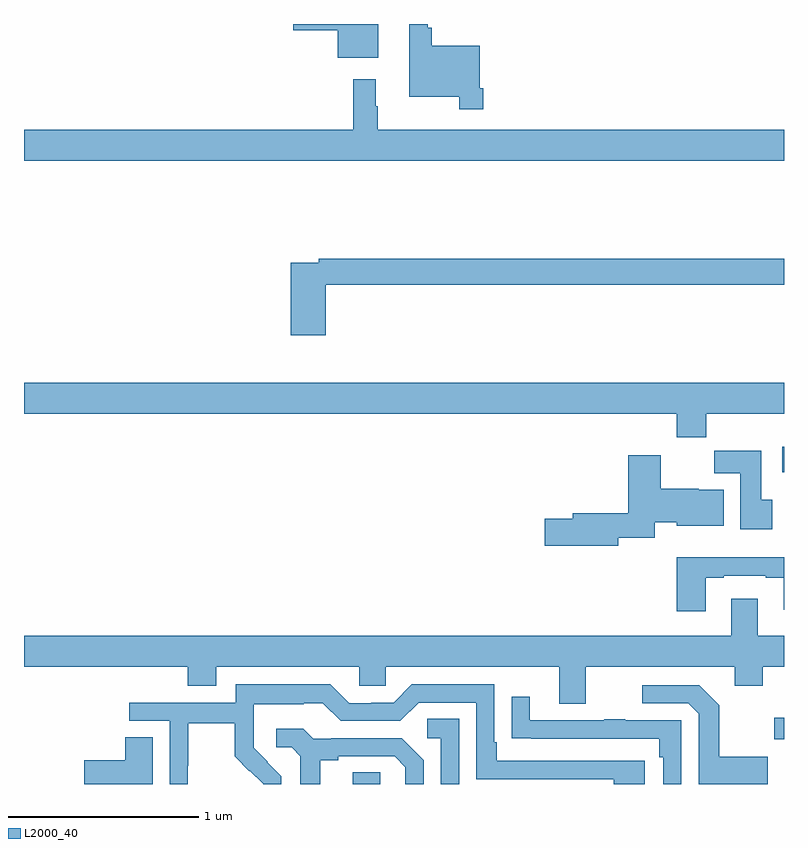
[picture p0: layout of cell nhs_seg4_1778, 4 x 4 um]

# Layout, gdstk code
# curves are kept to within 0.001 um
import gdstk
lib = gdstk.Library(unit=1e-6, precision=1e-09)
def R(c, l, rs):  # rectangles x0, y0, x1, y1
    for r in rs: c.add(gdstk.rectangle(r[:2], r[2:], *l))
def P(c, l, *ps):  # polygons
    for p in ps: c.add(gdstk.Polygon(p, *l))
L2000_40 = (2000, 40)

nhs_seg4_1778 = lib.new_cell('nhs_seg4_1778')
R(nhs_seg4_1778, L2000_40, [(204.731,766.9,204.876,766.961), (206.949,767.135,207,767.248), (206.991,768.542,207,768.676)])
P(nhs_seg4_1778, L2000_40, [(205.418,770.563),(205.398,770.563),(205.398,770.785),(205.145,770.785),(205.145,770.881),(205.125,770.881),(205.125,770.9),(205.028,770.9),(205.028,770.516),(205.29,770.516),(205.29,770.451),(205.418,770.451)],
  [(204.865,770.9),(204.416,770.9),(204.416,770.867),(204.65,770.867),(204.65,770.723),(204.865,770.723)],
  [(207,770.344),(204.862,770.344),(204.862,770.468),(204.85,770.468),(204.85,770.608),(204.733,770.608),(204.733,770.344),(203,770.344),(203,770.18),(207,770.18)],
  [(204.587,769.528),(207,769.528),(207,769.664),(204.55,769.664),(204.55,769.644),(204.404,769.644),(204.404,769.263),(204.587,769.263)],
  [(206.591,768.848),(207,768.848),(207,769.012),(203,769.012),(203,768.848),(206.435,768.848),(206.435,768.724),(206.591,768.724)],
  [(206.938,768.396),(206.881,768.396),(206.881,768.655),(206.632,768.655),(206.632,768.536),(206.771,768.536),(206.771,768.24),(206.938,768.24)],
  [(206.128,768.196),(206.32,768.196),(206.32,768.278),(206.436,768.278),(206.436,768.26),(206.683,768.26),(206.683,768.448),(206.55,768.448),(206.55,768.454),(206.35,768.454),(206.35,768.631),(206.18,768.631),(206.18,768.326),(205.889,768.326),(205.889,768.296),(205.74,768.296),(205.74,768.154),(206.128,768.154)],
  [(206.587,767.985),(206.683,767.985),(206.683,767.997),(206.903,767.997),(206.903,767.985),(206.999,767.985),(206.999,767.816),(207,767.816),(207,768.094),(206.435,768.094),(206.435,767.808),(206.587,767.808)],
  [(203,767.516),(203.861,767.516),(203.861,767.417),(204.013,767.417),(204.013,767.516),(204.765,767.516),(204.765,767.418),(204.903,767.418),(204.903,767.516),(205.817,767.516),(205.817,767.322),(205.957,767.322),(205.957,767.516),(206.741,767.516),(206.741,767.417),(206.889,767.417),(206.889,767.516),(207,767.516),(207,767.68),(206.863,767.68),(206.863,767.875),(206.723,767.875),(206.723,767.68),(203,767.68)],
  [(203.862,766.996),(203.865,766.996),(203.865,767.22),(204.109,767.22),(204.109,767.045),(204.186,766.968),(204.189,766.971),(204.26,766.9),(204.354,766.9),(204.354,766.942),(204.208,767.09),(204.208,767.187),(204.21,767.187),(204.21,767.321),(204.473,767.321),(204.473,767.325),(204.573,767.325),(204.666,767.232),(204.981,767.232),(205.077,767.328),(205.38,767.328),(205.38,766.926),(206.105,766.926),(206.105,766.9),(206.266,766.9),(206.266,767.022),(205.489,767.022),(205.489,767.119),(205.476,767.119),(205.476,767.424),(205.041,767.424),(204.945,767.328),(204.827,767.328),(204.827,767.325),(204.711,767.325),(204.611,767.425),(204.114,767.425),(204.114,767.328),(203.553,767.328),(203.553,767.232),(203.766,767.232),(203.766,766.9),(203.862,766.9)],
  [(206.915,767.043),(206.659,767.043),(206.659,767.315),(206.553,767.421),(206.253,767.421),(206.253,767.325),(206.496,767.325),(206.55,767.271),(206.55,766.9),(206.915,766.9)],
  [(206.46,767.235),(206.165,767.235),(206.165,767.24),(206.053,767.24),(206.053,767.235),(205.663,767.235),(205.663,767.359),(205.567,767.359),(205.567,767.14),(205.669,767.14),(205.669,767.139),(206.344,767.139),(206.344,767.042),(206.364,767.042),(206.364,766.9),(206.46,766.9)],
  [(205.29,767.243),(205.122,767.243),(205.122,767.142),(205.194,767.142),(205.194,766.9),(205.29,766.9)],
  [(204.559,767.024),(204.655,767.024),(204.655,767.046),(204.95,767.046),(205.007,766.989),(205.007,766.9),(205.104,766.9),(205.104,767.026),(204.988,767.142),(204.616,767.142),(204.616,767.139),(204.522,767.139),(204.47,767.191),(204.327,767.191),(204.327,767.094),(204.408,767.094),(204.455,767.047),(204.455,766.9),(204.559,766.9)],
  [(203.677,767.147),(203.534,767.147),(203.534,767.024),(203.316,767.024),(203.316,766.9),(203.677,766.9)])

lib.write_gds('nhs_seg4_1778.gds')
